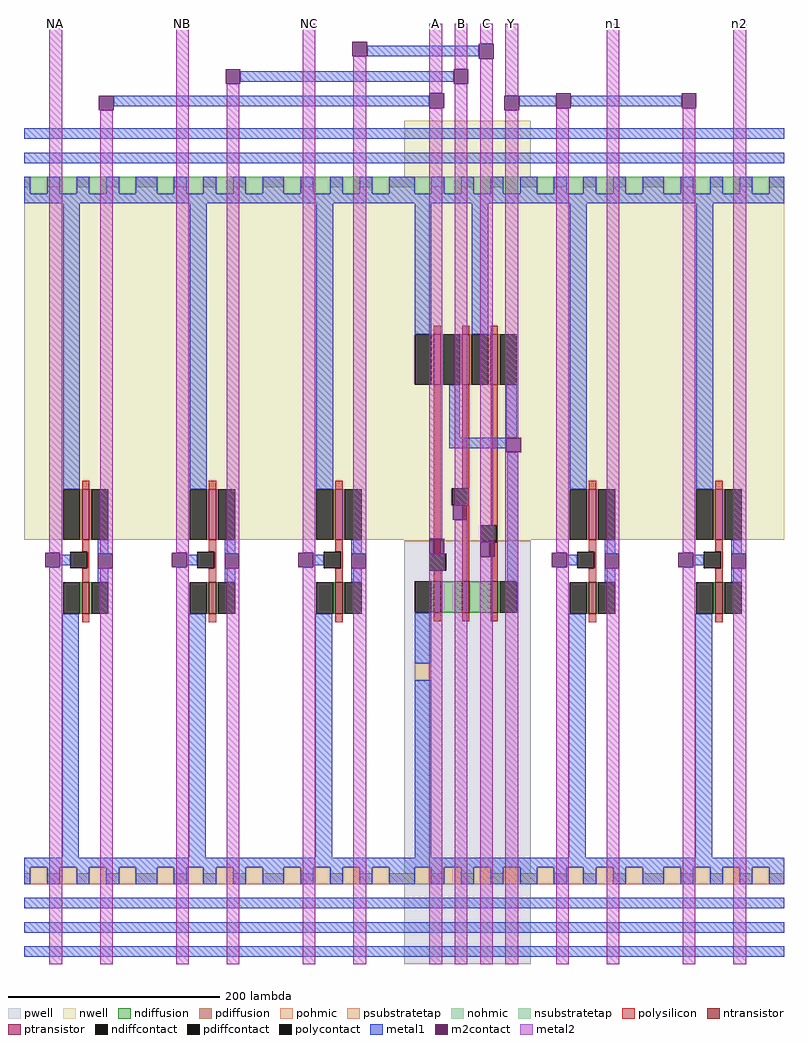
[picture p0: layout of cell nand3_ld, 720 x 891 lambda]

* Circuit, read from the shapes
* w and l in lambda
.subckt nand3_ld A B C GND! NA NB NC Vdd! Y n1 n2
M1 A NA GND! VSUBS nfet w=30 l=7
M2 B NB GND! VSUBS nfet w=30 l=7
M3 C NC GND! VSUBS nfet w=30 l=7
M4 n3 A n4 VSUBS nfet w=30 l=7
M5 n5 B n3 VSUBS nfet w=30 l=7
M6 Y C n5 VSUBS nfet w=30 l=7
M7 n1 Y GND! VSUBS nfet w=30 l=7
M8 n2 Y GND! VSUBS nfet w=30 l=7
M9 A NA Vdd! n6 pfet w=48 l=7
M10 B NB Vdd! n6 pfet w=48 l=7
M11 C NC Vdd! n6 pfet w=48 l=7
M12 Y A Vdd! n6 pfet w=48 l=7
M13 Vdd! B Y n6 pfet w=48 l=7
M14 Y C Vdd! n6 pfet w=48 l=7
M15 n1 Y Vdd! n6 pfet w=48 l=7
M16 n2 Y Vdd! n6 pfet w=48 l=7
.ends

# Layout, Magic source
magic
tech c035u
<< metal1 >>
rect 325 860 431 870
rect 205 836 407 846
rect 85 813 384 823
rect 469 813 504 823
rect 518 813 623 823
<< m2contact >>
rect 311 860 325 874
rect 431 858 445 872
rect 191 834 205 848
rect 407 834 421 848
rect 71 809 85 823
rect 384 811 398 825
rect 455 809 469 823
rect 504 811 518 825
rect 623 811 637 825
<< metal2 >>
rect 24 799 36 891
rect 72 799 84 809
rect 144 799 156 891
rect 192 799 204 834
rect 264 799 276 891
rect 312 799 324 860
rect 384 825 396 891
rect 408 848 420 891
rect 432 872 444 891
rect 384 799 396 811
rect 408 799 420 834
rect 432 799 444 858
rect 456 823 468 891
rect 456 799 468 809
rect 504 799 516 811
rect 552 799 564 891
rect 624 799 636 811
rect 672 799 684 891
use inv inv_2
transform 1 0 0 0 1 0
box 0 0 120 799
use inv inv_3
transform 1 0 120 0 1 0
box 0 0 120 799
use inv inv_4
transform 1 0 240 0 1 0
box 0 0 120 799
use nand3 nand3_0
transform 1 0 360 0 1 0
box 0 0 120 799
use inv inv_0
transform 1 0 480 0 1 0
box 0 0 120 799
use inv inv_1
transform 1 0 600 0 1 0
box 0 0 120 799
<< labels >>
rlabel metal2 672 891 684 891 5 n2
rlabel metal2 552 891 564 891 5 n1
rlabel metal2 456 891 468 891 5 Y
rlabel metal2 432 891 444 891 5 C
rlabel metal2 408 891 420 891 5 B
rlabel metal2 384 891 396 891 5 A
rlabel metal2 24 891 36 891 5 NA
rlabel metal2 144 891 156 891 5 NB
rlabel metal2 264 891 276 891 5 NC
<< end >>

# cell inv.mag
magic
tech c035u
<< nwell >>
rect 0 402 120 746
<< polysilicon >>
rect 55 450 62 458
rect 55 391 62 402
rect 60 375 62 391
rect 55 362 62 375
rect 55 324 62 332
<< ndiffusion >>
rect 53 332 55 362
rect 62 332 64 362
<< pdiffusion >>
rect 53 402 55 450
rect 62 402 64 450
<< pohmic >>
rect 0 76 6 86
rect 22 76 34 86
rect 50 76 62 86
rect 78 76 90 86
rect 106 76 120 86
<< nohmic >>
rect 0 736 6 746
rect 22 736 34 746
rect 50 736 62 746
rect 78 736 90 746
rect 106 736 120 746
<< ntransistor >>
rect 55 332 62 362
<< ptransistor >>
rect 55 402 62 450
<< polycontact >>
rect 44 375 60 391
<< ndiffcontact >>
rect 37 332 53 362
rect 64 332 80 362
<< pdiffcontact >>
rect 37 402 53 450
rect 64 402 80 450
<< psubstratetap >>
rect 6 76 22 92
rect 34 76 50 92
rect 62 76 78 92
rect 90 76 106 92
<< nsubstratetap >>
rect 6 730 22 746
rect 34 730 50 746
rect 62 730 78 746
rect 90 730 106 746
<< metal1 >>
rect 0 782 120 792
rect 0 759 120 769
rect 0 730 6 746
rect 22 730 34 746
rect 50 730 62 746
rect 78 730 90 746
rect 106 730 120 746
rect 0 721 120 730
rect 37 450 53 721
rect 34 378 44 388
rect 70 389 80 402
rect 70 362 80 375
rect 36 101 52 332
rect 0 92 120 101
rect 0 76 6 92
rect 22 76 34 92
rect 50 76 62 92
rect 78 76 90 92
rect 106 76 120 92
rect 0 53 120 63
rect 0 30 120 40
rect 0 7 120 17
<< m2contact >>
rect 20 376 34 390
rect 70 375 84 389
<< metal2 >>
rect 24 390 36 799
rect 34 376 36 390
rect 72 389 84 799
rect 24 0 36 376
rect 72 0 84 375
<< labels >>
rlabel metal1 0 721 0 746 7 Vdd!
rlabel metal1 0 759 0 769 7 Scan
rlabel metal1 0 782 0 792 6 ScanReturn
rlabel metal1 120 721 120 746 7 Vdd!
rlabel metal1 120 759 120 769 7 Scan
rlabel metal1 120 782 120 792 6 ScanReturn
rlabel metal2 24 799 36 799 5 A
rlabel metal2 72 799 84 799 5 Y
rlabel metal1 0 76 0 101 7 GND!
rlabel metal1 0 53 0 63 7 Clock
rlabel metal1 0 30 0 40 7 Test
rlabel metal1 0 7 0 17 8 nReset
rlabel metal1 120 7 120 17 8 nReset
rlabel metal1 120 30 120 40 7 Test
rlabel metal1 120 53 120 63 7 Clock
rlabel metal1 120 76 120 101 7 GND!
rlabel metal2 24 0 36 0 1 A
rlabel metal2 72 0 84 0 1 Y
<< end >>

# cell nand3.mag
magic
tech c035u
<< nwell >>
rect 0 401 120 799
<< pwell >>
rect 0 0 120 401
<< polysilicon >>
rect 28 597 35 605
rect 55 597 62 605
rect 82 597 89 605
rect 28 389 35 549
rect 55 451 62 549
rect 61 435 62 451
rect 28 363 35 373
rect 55 363 62 435
rect 82 416 89 549
rect 88 400 89 416
rect 81 386 89 400
rect 82 363 89 386
rect 28 325 35 333
rect 55 325 62 333
rect 82 325 89 333
<< ndiffusion >>
rect 26 333 28 363
rect 35 333 55 363
rect 62 333 82 363
rect 89 333 91 363
<< pdiffusion >>
rect 26 549 28 597
rect 35 549 37 597
rect 53 549 55 597
rect 62 549 64 597
rect 80 549 82 597
rect 89 549 91 597
<< pohmic >>
rect 0 76 10 86
rect 26 76 38 86
rect 54 76 66 86
rect 82 76 94 86
rect 110 76 120 86
<< nohmic >>
rect 0 736 10 746
rect 26 736 38 746
rect 54 736 66 746
rect 82 736 94 746
rect 110 736 120 746
<< ntransistor >>
rect 28 333 35 363
rect 55 333 62 363
rect 82 333 89 363
<< ptransistor >>
rect 28 549 35 597
rect 55 549 62 597
rect 82 549 89 597
<< polycontact >>
rect 45 435 61 451
rect 24 373 40 389
rect 72 400 88 416
<< ndiffcontact >>
rect 10 333 26 363
rect 91 333 107 363
<< pdiffcontact >>
rect 10 549 26 597
rect 37 549 53 597
rect 64 549 80 597
rect 91 549 107 597
<< psubstratetap >>
rect 10 269 26 285
rect 10 76 26 92
rect 38 76 54 92
rect 66 76 82 92
rect 94 76 110 92
<< nsubstratetap >>
rect 10 730 26 746
rect 38 730 54 746
rect 66 730 82 746
rect 94 730 110 746
<< metal1 >>
rect 0 782 120 792
rect 0 759 120 769
rect 0 730 10 746
rect 26 730 38 746
rect 54 730 66 746
rect 82 730 94 746
rect 110 730 120 746
rect 0 721 120 730
rect 10 597 26 721
rect 64 597 80 721
rect 43 499 53 549
rect 97 499 107 549
rect 43 489 97 499
rect 98 363 108 485
rect 107 333 108 363
rect 10 285 26 333
rect 10 101 26 269
rect 0 92 120 101
rect 0 76 10 92
rect 26 76 38 92
rect 54 76 66 92
rect 82 76 94 92
rect 110 76 120 92
rect 0 53 120 63
rect 0 30 120 40
rect 0 7 120 17
<< m2contact >>
rect 97 485 111 499
rect 46 421 60 435
rect 24 389 38 403
rect 72 386 86 400
<< metal2 >>
rect 24 597 36 799
rect 24 549 37 597
rect 24 403 36 549
rect 48 451 60 799
rect 48 435 61 451
rect 24 373 38 389
rect 24 0 36 373
rect 48 0 60 421
rect 72 416 84 799
rect 96 499 108 799
rect 96 485 97 499
rect 72 400 85 416
rect 72 0 84 386
rect 96 0 108 485
<< labels >>
rlabel metal1 0 721 0 746 3 Vdd!
rlabel metal1 0 759 0 769 3 Scan
rlabel metal1 0 782 0 792 4 ScanReturn
rlabel metal1 120 721 120 746 7 Vdd!
rlabel metal1 120 759 120 769 7 Scan
rlabel metal1 120 782 120 792 6 ScanReturn
rlabel metal2 24 799 36 799 5 A
rlabel metal2 48 799 60 799 5 B
rlabel metal2 72 799 84 799 5 C
rlabel metal2 96 799 108 799 5 Y
rlabel metal2 48 0 60 0 1 B
rlabel metal2 24 0 36 0 1 A
rlabel metal2 72 0 84 0 1 C
rlabel metal2 96 0 108 0 1 Y
rlabel metal1 0 53 0 63 3 Clock
rlabel metal1 0 30 0 40 3 Test
rlabel metal1 0 7 0 17 2 nReset
rlabel metal1 0 76 0 101 3 GND!
rlabel metal1 120 7 120 17 7 nReset
rlabel metal1 120 30 120 40 7 Test
rlabel metal1 120 53 120 63 7 Clock
rlabel metal1 120 76 120 101 7 GND!
<< end >>
